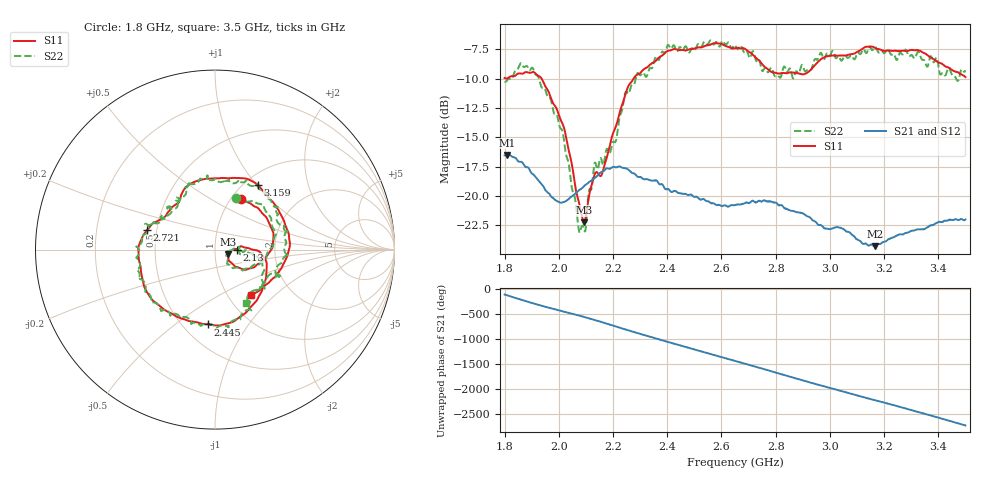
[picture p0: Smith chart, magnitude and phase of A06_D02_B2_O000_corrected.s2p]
! Created with skrf 1.9.0 (http://scikit-rf.org).
# Hz S RI R 50.0
!freq ReS11 ImS11 ReS21 ImS21 ReS12 ImS12 ReS22 ImS22
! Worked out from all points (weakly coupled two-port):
!   1601 points, 1.8 GHz to 3.5 GHz, reference 50 ohm
!   highest |S21| = -16.51 dB at 1.81 GHz (marker M1); lowest = -24.3 dB at 3.165 GHz (marker M2)
!   lowest |S11| = -22.2 dB at 2.093 GHz (marker M3), VSWR 1.17, Z = 57.8 - j2.9 ohm
!   |S11| at or under -10 dB: 1.937 GHz to 2.276 GHz (338.7 MHz wide, 16.1 % of centre)
!   |S22| runs from -23.1 to -6.7 dB; largest |S21 - S12| = 0.0024
!   S11 on the Smith chart (normalised r, x): 1.8 GHz: 1.11, +0.70; 2.13 GHz: 1.28, -0.00; 2.445 GHz: 0.66, -0.67; 2.721 GHz: 0.44, +0.11; 3.159 GHz: 1.14, +1.02; 3.5 GHz: 1.27, -0.72
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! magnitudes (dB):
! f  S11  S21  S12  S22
! 1.8 GHz  -9.9  -16.5  -16.5  -10.2
! 1.81 GHz  -10.0  -16.5  -16.5  -10.1
! 1.902 GHz  -9.4  -18.1  -18.1  -9.1
! 1.967 GHz  -11.4  -19.9  -19.9  -11.6
! 2.02 GHz  -14.3  -20.5  -20.5  -15.4
! 2.072 GHz  -20.3  -19.6  -19.6  -22.7
! 2.084 GHz  -21.5  -19.4  -19.3  -22.6
! 2.093 GHz  -22.2  -19.2  -19.2  -22.8
! 2.13 GHz  -18.3  -18.5  -18.5  -17.4
! 2.16 GHz  -18.1  -17.9  -17.9  -17.2
! 2.207 GHz  -14.3  -17.5  -17.5  -15.4
! 2.259 GHz  -10.5  -17.8  -17.8  -11.2
! 2.367 GHz  -8.2  -18.9  -18.8  -8.4
! 2.445 GHz  -7.6  -19.8  -19.8  -7.3
! 2.65 GHz  -7.4  -20.8  -20.7  -7.1
! 2.721 GHz  -8.1  -20.5  -20.4  -7.9
! 2.809 GHz  -9.6  -20.8  -20.7  -9.8
! 2.934 GHz  -9.1  -22.0  -22.0  -9.1
! 3.159 GHz  -7.3  -24.2  -24.2  -7.5
! 3.165 GHz  -7.4  -24.3  -24.3  -7.3
! 3.217 GHz  -7.6  -23.7  -23.6  -7.6
! 3.5 GHz  -9.9  -22.0  -22.0  -9.3
